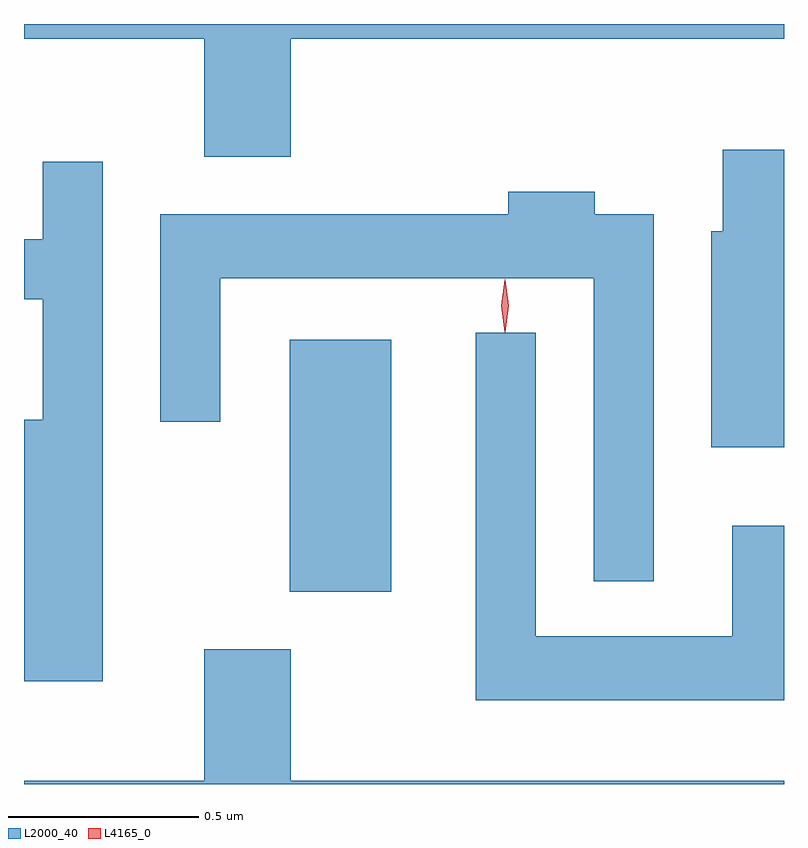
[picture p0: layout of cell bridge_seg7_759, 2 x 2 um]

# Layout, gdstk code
import gdstk
lib = gdstk.Library(unit=1e-6, precision=1e-09)
def R(c, l, rs):  # rectangles x0, y0, x1, y1
    for r in rs: c.add(gdstk.rectangle(r[:2], r[2:], *l))
def P(c, l, *ps):  # polygons
    for p in ps: c.add(gdstk.Polygon(p, *l))
L2000_40 = (2000, 40)
L4165_0 = (4165, 0)

bridge_seg7_759 = lib.new_cell('bridge_seg7_759')
R(bridge_seg7_759, L2000_40, [(597.846,1755.041,598.114,1755.704)])
P(bridge_seg7_759, L2000_40, [(597.849,1756.496),(599.147,1756.496),(599.147,1756.535),(597.147,1756.535),(597.147,1756.496),(597.621,1756.496),(597.621,1756.186),(597.849,1756.186)],
  [(599.147,1756.204),(598.986,1756.204),(598.986,1755.989),(598.956,1755.989),(598.956,1755.421),(599.147,1755.421)],
  [(597.354,1756.173),(597.196,1756.173),(597.196,1755.969),(597.147,1755.969),(597.147,1755.811),(597.196,1755.811),(597.196,1755.494),(597.147,1755.494),(597.147,1754.806),(597.354,1754.806)],
  [(598.804,1756.034),(598.649,1756.034),(598.649,1756.094),(598.421,1756.094),(598.421,1756.034),(597.506,1756.034),(597.506,1755.488),(597.664,1755.488),(597.664,1755.866),(598.646,1755.866),(598.646,1755.068),(598.804,1755.068)],
  [(599.147,1755.214),(599.011,1755.214),(599.011,1754.924),(598.494,1754.924),(598.494,1755.723),(598.336,1755.723),(598.336,1754.756),(599.147,1754.756)],
  [(599.147,1754.544),(597.849,1754.544),(597.849,1754.889),(597.621,1754.889),(597.621,1754.544),(597.147,1754.544),(597.147,1754.535),(599.147,1754.535)])
P(bridge_seg7_759, L4165_0, [(598.413,1755.723),(598.412,1755.724),(598.403,1755.793),(598.412,1755.862),(598.413,1755.863),(598.413,1755.862),(598.423,1755.793),(598.413,1755.724)])

lib.write_gds('bridge_seg7_759.gds')
